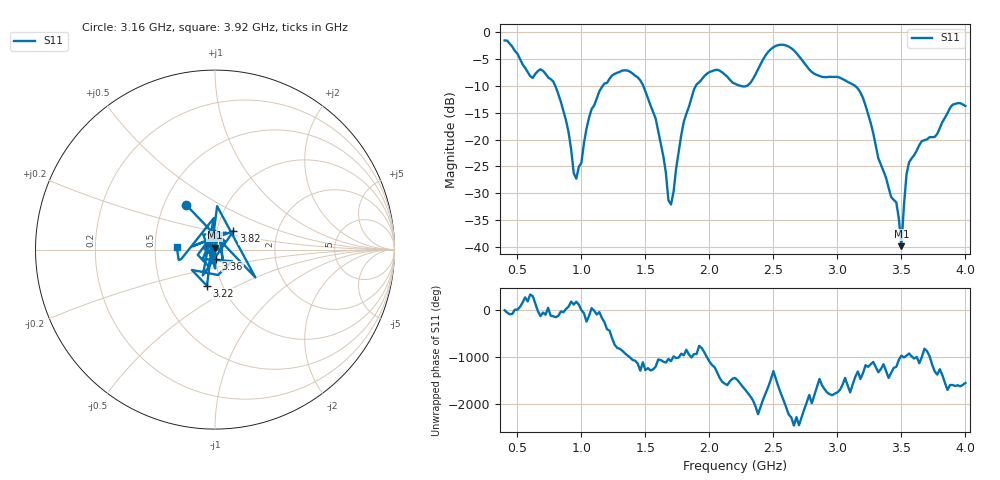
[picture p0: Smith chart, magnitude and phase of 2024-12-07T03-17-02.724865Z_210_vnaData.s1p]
!Created with skrf (http://scikit-rf.org).
# Hz S RI R 50.0
!freq ReS11 ImS11
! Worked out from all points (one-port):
!   181 points, 400 MHz to 4 GHz, reference 50 ohm
!   lowest |S11| = -39.8 dB at 3.5 GHz (marker M1), VSWR 1.02, Z = 49.8 + j1 ohm
!   |S11| at or under -10 dB: 794.9 MHz to 1.168 GHz (373.5 MHz wide, 38 % of centre); 1.483 GHz to 1.895 GHz (412.5 MHz wide, 24.4 % of centre); 3.135 GHz to end of sweep (the widest 3 of 4)
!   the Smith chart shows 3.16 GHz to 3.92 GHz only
!   S11 on the Smith chart (normalised r, x): 3.16 GHz: 0.65, +0.35; 3.22 GHz: 0.85, -0.36; 3.36 GHz: 1.01, -0.10; 3.82 GHz: 1.20, +0.25; 3.92 GHz: 0.65, +0.02
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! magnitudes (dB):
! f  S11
! 400 MHz  -1.6
! 600 MHz  -8.2
! 780 MHz  -9.2
! 860 MHz  -14.7
! 960 MHz  -27.3
! 1.08 GHz  -14.3
! 1.3 GHz  -7.4
! 1.48 GHz  -9.8
! 1.58 GHz  -16.1
! 1.7 GHz  -32.0
! 1.76 GHz  -22.2
! 1.9 GHz  -9.8
! 2.06 GHz  -7.1
! 2.2 GHz  -9.6
! 2.32 GHz  -9.5
! 2.5 GHz  -2.9
! 2.66 GHz  -3.5
! 3.1 GHz  -9.5
! 3.16 GHz  -10.5
! 3.22 GHz  -13.7
! 3.36 GHz  -25.8
! 3.46 GHz  -31.7
! 3.5 GHz  -39.8
! 3.54 GHz  -26.5
! 3.56 GHz  -24.2
! 3.82 GHz  -16.8
! 3.92 GHz  -13.4
! 4 GHz  -13.8
